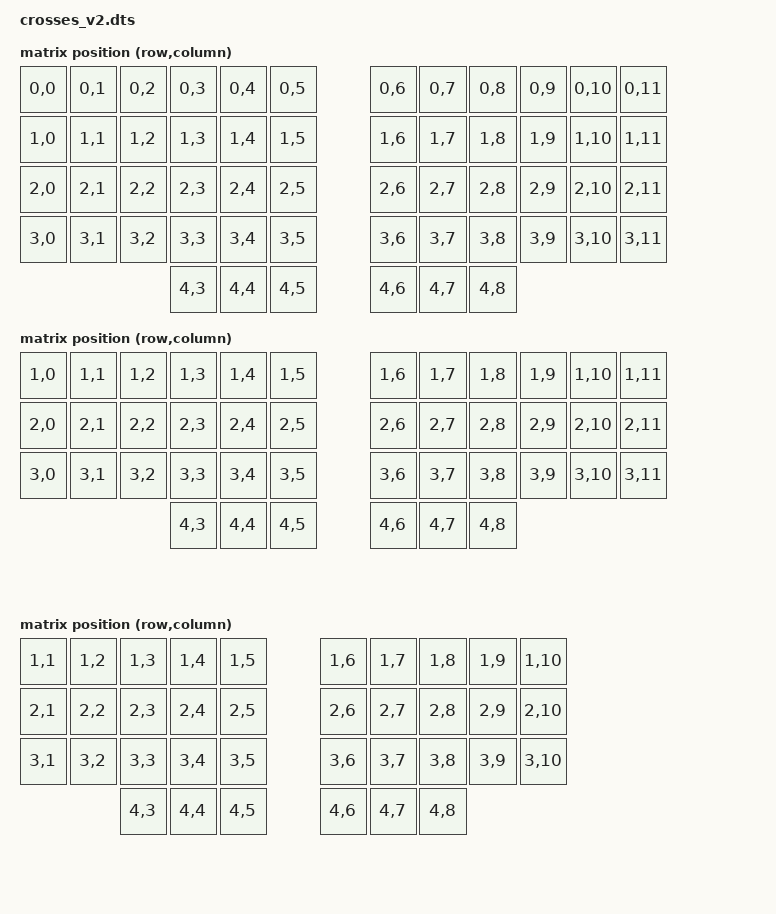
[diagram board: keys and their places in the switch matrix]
/*
 * Copyright (c) 2026 Vincent Franco
 * SPDX-License-Identifier: MIT
 */

/dts-v1/;
#include <nordic/nrf52840_qiaa.dtsi>
#include <common/nordic/nrf52840_uf2_boot_mode.dtsi>

#include <dt-bindings/zmk/matrix_transform.h>
#include <dt-bindings/zmk/input_transform.h>
#include <input/processors.dtsi>
#include <input/processors/report_rate_limit.dtsi>

#include "crosses_v2_pinctrl.dtsi"

#include "layout_54.dtsi"
#include "layout_42.dtsi"
#include "layout_36.dtsi"

&gggw_crosses_54_layout {
  transform = <&default_transform>;
};

&gggw_crosses_42_layout {
  transform = <&forty_two_transform>;
};

&gggw_crosses_36_layout {
  transform = <&thirty_six_transform>;
};

/ {
    chosen {
      zmk,kscan = &kscan0;
      zmk,physical-layout = &gggw_crosses_54_layout;
      zephyr,code-partition = &code_partition;
      zephyr,sram = &sram0;
      zephyr,flash = &flash0;
      zmk,battery = &vbatt;
    };

    leds {
        compatible = "gpio-leds";
        blue_led: led_0 {
            gpios = <&gpio0 4 GPIO_ACTIVE_HIGH>;
        };
    };

    vbatt: vbatt {
      compatible = "zmk,battery-nrf-vddh";
    };

    default_transform: keymap_transform0 {
      compatible = "zmk,matrix-transform";
      columns = <12>;
      rows = <5>;
      map = <
        RC(0,0) RC(0,1) RC(0,2) RC(0,3) RC(0,4) RC(0,5)       RC(0,6) RC(0,7) RC(0,8) RC(0,9) RC(0,10) RC(0,11)
        RC(1,0) RC(1,1) RC(1,2) RC(1,3) RC(1,4) RC(1,5)       RC(1,6) RC(1,7) RC(1,8) RC(1,9) RC(1,10) RC(1,11)
        RC(2,0) RC(2,1) RC(2,2) RC(2,3) RC(2,4) RC(2,5)       RC(2,6) RC(2,7) RC(2,8) RC(2,9) RC(2,10) RC(2,11)
        RC(3,0) RC(3,1) RC(3,2) RC(3,3) RC(3,4) RC(3,5)       RC(3,6) RC(3,7) RC(3,8) RC(3,9) RC(3,10) RC(3,11)
                                RC(4,3) RC(4,4) RC(4,5)       RC(4,6) RC(4,7) RC(4,8)
      >;
    };

    forty_two_transform: keymap_transform1 {
      compatible = "zmk,matrix-transform";
      columns = <12>;
      rows = <5>;
      map = <
        RC(1,0) RC(1,1) RC(1,2) RC(1,3) RC(1,4) RC(1,5)       RC(1,6) RC(1,7) RC(1,8) RC(1,9) RC(1,10) RC(1,11)
        RC(2,0) RC(2,1) RC(2,2) RC(2,3) RC(2,4) RC(2,5)       RC(2,6) RC(2,7) RC(2,8) RC(2,9) RC(2,10) RC(2,11)
        RC(3,0) RC(3,1) RC(3,2) RC(3,3) RC(3,4) RC(3,5)       RC(3,6) RC(3,7) RC(3,8) RC(3,9) RC(3,10) RC(3,11)
                                RC(4,3) RC(4,4) RC(4,5)       RC(4,6) RC(4,7) RC(4,8)
      >;
    };

    thirty_six_transform: keymap_transform2 {
      compatible = "zmk,matrix-transform";
      columns = <12>;
      rows = <5>;
      map = <
        RC(1,1) RC(1,2) RC(1,3) RC(1,4) RC(1,5)           RC(1,6) RC(1,7) RC(1,8) RC(1,9) RC(1,10)
        RC(2,1) RC(2,2) RC(2,3) RC(2,4) RC(2,5)           RC(2,6) RC(2,7) RC(2,8) RC(2,9) RC(2,10)
        RC(3,1) RC(3,2) RC(3,3) RC(3,4) RC(3,5)           RC(3,6) RC(3,7) RC(3,8) RC(3,9) RC(3,10)
                        RC(4,3) RC(4,4) RC(4,5)           RC(4,6) RC(4,7) RC(4,8)
      >;
    };

    kscan0: kscan {
      compatible = "zmk,kscan-gpio-matrix";
      wakeup-source;

      debounce-press-ms = <4>;
      debounce-release-ms = <20>;
      diode-direction = "col2row";
    };


    //right hand trackball
    split_inputs {
      #address-cells = <1>;
      #size-cells = <0>;

      trackball_peripheral_split: trackball_peripheral_split@0 {
        compatible = "zmk,input-split";
        reg = <0>;
      };
    };

    trackball_peripheral_listener: trackball_peripheral_listener {
      compatible = "zmk,input-listener";
      status = "disabled";
      device = <&trackball_peripheral_split>;
    };

    //left hand trackball
    trackball_central_listener: trackball_central_listener {
      compatible = "zmk,input-listener";
      status = "disabled";
    };

    // ---- Trackball modes (selectable via the config app / pipe_switch) ----
    //
    // Both balls expose the same 3 modes in the same order, so the app shows
    // an identical menu and the "invert scroll" checkbox just picks between
    // the two Scroll pipelines:
    //   index 0 = Cursor      (pointer movement)
    //   index 1 = Scroll Up   (one wheel direction)
    //   index 2 = Scroll Down (the opposite wheel direction)
    //
    // Per-ball ORIENTATION differs because the sensors are mounted mirrored:
    // the left (peripheral) sensor needs no axis flip, the right (central)
    // one needs X+Y inverted (this matches the cursor behavior the board
    // shipped with). SCROLL DIRECTION is then flipped between Up/Down by an
    // extra Y invert. If Up/Down feel backwards on the bench, just swap the
    // two `label`s; if a whole ball's cursor/scroll axis is wrong, adjust its
    // INPUT_TRANSFORM_* flags. Feel knobs: zip_scroll_scaler (mult/div) and
    // zip_report_rate_limit (ms).
    //
    // Defined here (not in the per-side .dts) because the shared keymap's
    // &pipe_switch reference must resolve on both halves and every
    // sub-processor phandle exists on both.

    // Left (peripheral) ball. Applied on the left half via
    // &trackball_peripheral_split. No orientation flip (matches prior cursor).
    zip_periph_ball: zip_periph_ball {
      compatible = "zmk,input-processor-pipeline-switch";
      #input-processor-cells = <0>;
      persistent;
      default-index = <0>;

      cursor {
        label = "Cursor";
        input-processors = <&zip_report_rate_limit 2>;
      };

      scroll_up {
        label = "Scroll Up";
        input-processors
          = <&zip_xy_to_scroll_mapper>
          , <&zip_scroll_scaler 1 8>
          , <&zip_report_rate_limit 16>;
      };

      scroll_down {
        label = "Scroll Down";
        input-processors
          = <&zip_xy_transform (INPUT_TRANSFORM_Y_INVERT)>
          , <&zip_xy_to_scroll_mapper>
          , <&zip_scroll_scaler 1 8>
          , <&zip_report_rate_limit 16>;
      };
    };

    // Right (central) ball. Runs on the central via trackball_central_listener.
    // Orientation = X+Y invert in every mode (matches prior cursor behavior).
    // Scroll Down reuses orientation with Y un-inverted (net X invert), which
    // is the opposite wheel direction from Scroll Up.
    zip_central_ball: zip_central_ball {
      compatible = "zmk,input-processor-pipeline-switch";
      #input-processor-cells = <0>;
      persistent;
      default-index = <0>;

      cursor {
        label = "Cursor";
        input-processors
          = <&zip_xy_transform (INPUT_TRANSFORM_X_INVERT | INPUT_TRANSFORM_Y_INVERT)>
          , <&zip_report_rate_limit 4>;
      };

      scroll_up {
        label = "Scroll Up";
        input-processors
          = <&zip_xy_transform (INPUT_TRANSFORM_X_INVERT | INPUT_TRANSFORM_Y_INVERT)>
          , <&zip_xy_to_scroll_mapper>
          , <&zip_scroll_scaler 1 8>
          , <&zip_report_rate_limit 16>;
      };

      scroll_down {
        label = "Scroll Down";
        input-processors
          = <&zip_xy_transform (INPUT_TRANSFORM_X_INVERT)>
          , <&zip_xy_to_scroll_mapper>
          , <&zip_scroll_scaler 1 8>
          , <&zip_report_rate_limit 16>;
      };
    };

    behaviors {
      // Node names <= 8 chars: the BLE split relay payload truncates
      // behavior names at 9 bytes (ZMK_SPLIT_RUN_BEHAVIOR_DEV_LEN), and the
      // peripheral looks behaviors up by that name. Labels are not relayed
      // and can stay long. EVENT_SOURCE locality: bind on the left half,
      // where the peripheral split pipelines run.
      // param1 = pipeline index (0 = Cursor, 1 = Scroll Up, 2 = Scroll Down),
      // param2 = persist (0 = live preview, 1 = save to flash). Drives the
      // left/peripheral ball's zip_periph_ball; the central relays to the
      // peripheral by invoking this with event.source = the peripheral index.
      pipe_switch: pswitch {
        compatible = "zmk,behavior-pipeline-switch";
        #binding-cells = <2>;
        processor = <&zip_periph_ball>;
        display-name = "Ball Mode L";
      };

      // Right (central) ball select behavior. Same 2-cell contract; the
      // central runs it locally (no relay). Node name <= 8 chars (pswitchr).
      pipe_switch_r: pswitchr {
        compatible = "zmk,behavior-pipeline-switch";
        #binding-cells = <2>;
        processor = <&zip_central_ball>;
        display-name = "Ball Mode R";
      };

      // EVENT_SOURCE locality: each behavior runs on the half its key is
      // physically pressed on, targeting that half's local sensor. Both
      // nodes must be enabled on both halves so the central can resolve
      // locality and the peripheral can resolve the relayed name. Node
      // names <= 8 chars (see above). sensor_device is set per side in
      // crosses_v2_left.dts / crosses_v2_right.dts.
      dpi_cycle_left: dpi_cy_l {
        compatible = "zmk,behavior-paw32xx-res-cycle";
        #binding-cells = <1>;
        values = <608 798 988 1216 1596>;
        display-name = "DPI Left";
        persistent;
      };

      dpi_cycle_right: dpi_cy_r {
        compatible = "zmk,behavior-paw32xx-res-cycle";
        #binding-cells = <1>;
        values = <608 798 988 1216 1596>;
        display-name = "DPI Right";
        persistent;
      };

      // Absolute CPI set behaviors driven by the config app (param1 = CPI,
      // param2 = persist). EVENT_SOURCE so the central relays the left one to
      // the peripheral. Node names <= 8 chars (cpisetl/cpisetr). default-cpi
      // matches the sensors' res-cpi so the app shows the true start value.
      // sensor_device is set per side in the left/right .dts.
      cpi_set_l: cpisetl {
        compatible = "zmk,behavior-paw32xx-res-set";
        #binding-cells = <2>;
        default-cpi = <700>;
        persistent;
        // Delay the boot-time re-apply of the saved CPI to the sensor until
        // after early-boot churn (USB enumerate / BLE connect) settles; at
        // load-delay=0 the applied value was not sticking after reset. This is
        // an Apply (SPI register write), not a Save - no extra flash wear.
        load_delay = <1000>;
      };

      cpi_set_r: cpisetr {
        compatible = "zmk,behavior-paw32xx-res-set";
        #binding-cells = <2>;
        default-cpi = <700>;
        persistent;
        load_delay = <1000>;
      };
    };
};

&pinctrl {
    spi0_default: spi0_default {
        group1 {
            psels 
              = <NRF_PSEL(SPIM_SCK, 0, 6)>
              , <NRF_PSEL(SPIM_MOSI, 0, 26)>
              , <NRF_PSEL(SPIM_MISO, 0, 26)>
              ;
        };
    };

    spi0_sleep: spi0_sleep {
        group1 {
            psels 
              = <NRF_PSEL(SPIM_SCK, 0, 6)>
              , <NRF_PSEL(SPIM_MOSI, 0, 26)>
              , <NRF_PSEL(SPIM_MISO, 0, 26)>
              ;
            low-power-enable;
        };
    };
};

&reg1 {
  regulator-initial-mode = <NRF5X_REG_MODE_DCDC>;
};

&adc {
	status = "okay";
};

&gpiote {
    status = "okay";
};

&gpio0 {
	status = "okay";
};

&gpio1 {
	status = "okay";
};

&usbd {
	status = "okay";
};

&spi0 {
  status = "okay";
  compatible = "nordic,nrf-spim";
  pinctrl-0 = <&spi0_default>;
  pinctrl-1 = <&spi0_sleep>;
  pinctrl-names = "default", "sleep";
};

&spi1 {
    compatible = "nordic,nrf-spim";
    pinctrl-0 = <&spi1_default>;
    pinctrl-1 = <&spi1_sleep>;
    pinctrl-names = "default", "sleep";
};

zephyr_udc0: &usbd {
    status = "okay";
};

&flash0 {
	/*
	 * For more information, see:
	 * http://docs.zephyrproject.org/latest/devices/dts/flash_partitions.html
	 */
  partitions {
    compatible = "fixed-partitions";
    #address-cells = <1>;
		#size-cells = <1>;

    sd_partition: partition@0 {
      reg = <0x00000000 0x00026000>;
    };
    code_partition: partition@26000 {
      reg = <0x00026000 0x000c6000>;
    };

    /*
     * The flash starting at 0x000ec000 and ending at
     * 0x000f3fff is reserved for use by the application.
     */

    /*
     * Storage partition will be used by FCB/LittleFS/NVS
     * if enabled.
     */
		storage_partition: partition@ec000 {
			reg = <0x000ec000 0x00008000>;
		};

		boot_partition: partition@f4000 {
			reg = <0x000f4000 0x0000c000>;
		};
  };
};
